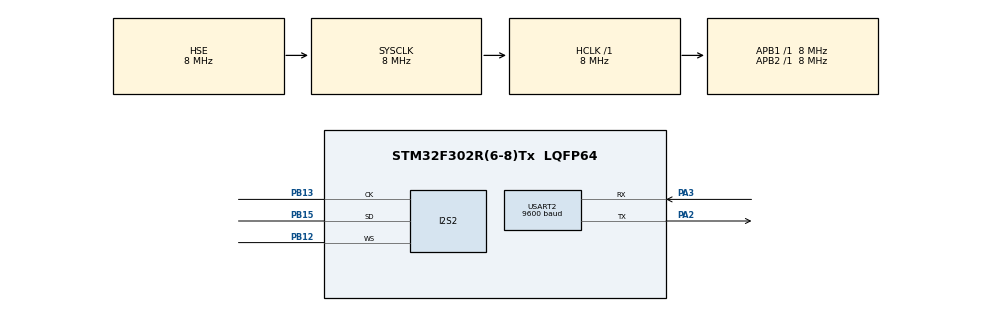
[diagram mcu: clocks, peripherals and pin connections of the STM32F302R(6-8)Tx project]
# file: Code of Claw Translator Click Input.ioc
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Dma.Request0=SPI2_RX
Dma.SPI2_RX.0.Direction=DMA_PERIPH_TO_MEMORY
Dma.SPI2_RX.0.Instance=DMA1_Channel4
Dma.SPI2_RX.0.MemDataAlignment=DMA_MDATAALIGN_HALFWORD
Dma.SPI2_RX.0.MemInc=DMA_MINC_ENABLE
Dma.SPI2_RX.0.Mode=DMA_CIRCULAR
Dma.SPI2_RX.0.PeriphDataAlignment=DMA_PDATAALIGN_HALFWORD
Dma.SPI2_RX.0.PeriphInc=DMA_PINC_DISABLE
Dma.SPI2_RX.0.Priority=DMA_PRIORITY_LOW
I2S2.AudioFreq=I2S_AUDIOFREQ_32K
I2S2.DataFormat=I2S_DATAFORMAT_16B_EXTENDED
I2S2.ErrorAudioFreq=-2.34 %
I2S2.FullDuplexMode=I2S_FULLDUPLEXMODE_DISABLE
I2S2.Instance=SPI$Index
I2S2.Mode=I2S_MODE_MASTER_RX
I2S2.RealAudioFreq=31.25 KHz
I2S2.VirtualMode=I2S_MODE_MASTER
Mcu.Family=STM32F3
Mcu.Name=STM32F302R(6-8)Tx
Mcu.Package=LQFP64
NVIC.DMA1_Channel4_IRQn=true\:0\:0\:false\:false\:true\:false\:true\:true
NVIC.PriorityGroup=NVIC_PRIORITYGROUP_4
PA13.Mode=Serial_Wire
PA13.Signal=SYS_JTMS-SWDIO
PA14.Mode=Serial_Wire
PA14.Signal=SYS_JTCK-SWCLK
PA2.Mode=Asynchronous
PA2.Signal=USART2_TX
PA3.Mode=Asynchronous
PA3.Signal=USART2_RX
PB12.Mode=Half_Duplex_Master
PB12.Signal=I2S2_WS
PB13.Mode=Half_Duplex_Master
PB13.Signal=I2S2_CK
PB15.Mode=Half_Duplex_Master
PB15.Signal=I2S2_SD
PF0-OSC_IN.Mode=HSE-External-Oscillator
PF0-OSC_IN.Signal=RCC_OSC_IN
PF1-OSC_OUT.Mode=HSE-External-Oscillator
PF1-OSC_OUT.Signal=RCC_OSC_OUT
ProjectManager.HeapSize=0x200
ProjectManager.StackSize=0x400
ProjectManager.TargetToolchain=STM32CubeIDE
RCC.AHBFreq_Value=8000000
RCC.APB1Freq_Value=8000000
RCC.APB1TimFreq_Value=8000000
RCC.APB2Freq_Value=8000000
RCC.APB2TimFreq_Value=8000000
RCC.CortexFreq_Value=8000000
RCC.HCLKFreq_Value=8000000
RCC.HSE_VALUE=8000000
RCC.HSI_VALUE=8000000
RCC.LSE_VALUE=32768
RCC.PLLMUL=RCC_PLL_MUL8
RCC.PLLSourceVirtual=RCC_PLLSOURCE_HSE
RCC.SYSCLKFreq_VALUE=8000000
RCC.SYSCLKSourceVirtual=RCC_SYSCLKSOURCE_HSE
RCC.USBFreq_Value=64000000
USART2.BaudRate=9600
USART2.VirtualMode-Asynchronous=VM_ASYNC
board=custom

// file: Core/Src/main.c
/* USER CODE BEGIN Header */
/**
  ******************************************************************************
  * @file           : main.c
  * @brief          : Main program body
  ******************************************************************************
  * @attention
  *
  * Copyright (c) 2026 STMicroelectronics.
  * All rights reserved.
  *
  * This software is licensed under terms that can be found in the LICENSE file
  * in the root directory of this software component.
  * If no LICENSE file comes with this software, it is provided AS-IS.
  *
  ******************************************************************************
  */
/* USER CODE END Header */
#include "main.h"

/* USER CODE BEGIN Includes */
#include "arm_math.h"
#include "stdio.h"
#include "stdlib.h"
/* USER CODE END Includes */

/* USER CODE BEGIN PD */
//#define BUFFER_SIZE 256
//#define INT16_TO_FLOAT 	1.0f / 32768.0f
//#define INT32_TO_FLOAT 	1.0f / 2147483648.0f

//#define FFT_LENGTH	1024
//#define SAMPLE_RATE	31250.0f
#define FFT_LENGTH 		256
#define SAMPLING_RATE	16000.0
/* USER CODE END PD */

I2S_HandleTypeDef hi2s2;
DMA_HandleTypeDef hdma_spi2_rx;

UART_HandleTypeDef huart2;

/* USER CODE BEGIN PV */
//int16_t audio_data[BUFFER_SIZE];
//volatile int16_t sample_i2s;
//volatile int16_t* in_buf_ptr;
//
//uint8_t data_ready_flag;

arm_rfft_fast_instance_f32 fft_inst;
float32_t frequency = 500.0;

char msg[50];

float32_t input_fft[FFT_LENGTH];
float32_t output_fft[FFT_LENGTH];
float32_t output_fft_mag[FFT_LENGTH / 2];

//float peak_val = 0.0f;
//float peak_Hz = 0;
/* USER CODE END PV */

void SystemClock_Config(void);
static void MX_GPIO_Init(void);
static void MX_DMA_Init(void);
static void MX_I2S2_Init(void);
static void MX_USART2_UART_Init(void);

/* USER CODE BEGIN 0 */
//void HAL_I2S_RxHalfCpltCallback (I2S_HandleTypeDef* hi2s) {
//	in_buf_ptr = &(audio_data[0]);
//	data_ready_flag = 1;
//}

//void HAL_I2S_RxCpltCallback (I2S_HandleTypeDef* hi2s) {
////	in_buf_ptr = &(audio_data[BUFFER_SIZE / 2]);
//	in_buf_ptr = &(audio_data[0]);
////	sample_i2s = audio_data[0];
//	data_ready_flag = 1;
//}
//
//void Process_Data () {
//	static float left_in, right_in;
//	static int16_t fft_idx = 0;
//
//	for (uint16_t n = 0; n < BUFFER_SIZE; n += 2) {
//		left_in = (float) (in_buf_ptr[n] < 0 ? in_buf_ptr[n] + 1900 : in_buf_ptr[n] - 1900);
////		left_in = INT16_TO_FLOAT * ((float) (in_buf_ptr[n] < 0 ? in_buf_ptr[n] + 1900 : in_buf_ptr[n] - 1900));
//		right_in = INT16_TO_FLOAT * ((float) in_buf_ptr[n + 1]);
//
//		fft_buff_in[fft_idx] = left_in;
//		fft_idx++;
//
//		if (fft_idx == FFT_BUFFER_SIZE) {
//			arm_rfft_fast_f32 (&fft_handler, fft_buff_in, fft_buff_out, 1);
//			fft_flag = 1;
//			fft_idx = 0;
//		}
//	}
//
//	data_ready_flag = 0;
//}
/* USER CODE END 0 */

int main(void)
{

  /* USER CODE BEGIN 1 */
	arm_rfft_fast_init_f32 (&fft_inst, FFT_LENGTH);
  /* USER CODE END 1 */

  /* MCU Configuration--------------------------------------------------------*/

  /* Reset of all peripherals, Initializes the Flash interface and the Systick. */
  HAL_Init();

  /* Configure the system clock */
  SystemClock_Config();

  /* Initialize all configured peripherals */
  MX_GPIO_Init();
  MX_DMA_Init();
  MX_I2S2_Init();
  MX_USART2_UART_Init();
  /* USER CODE BEGIN 2 */
//  HAL_I2S_Receive_DMA (&hi2s2, (uint16_t *) audio_data, BUFFER_SIZE);
  HAL_Delay (100);
    for (int i = 0; i < FFT_LENGTH; i++)
  	  input_fft[i] = arm_sin_f32 (2.0 * PI * frequency * (float32_t) i / SAMPLING_RATE);

    arm_rfft_fast_f32 (&fft_inst, input_fft, output_fft, 0);
    arm_cmplx_mag_f32 (output_fft, output_fft_mag, FFT_LENGTH / 2);

    for (int i = 0; i < FFT_LENGTH / 2; i++) {
  	  sprintf (msg, "frequency %f: %f\r\n", ((float32_t)(i * SAMPLING_RATE) / FFT_LENGTH), output_fft_mag[i]);
  	  HAL_UART_Transmit (&huart2, (uint8_t *) msg, 50, 100);
    }
  /* USER CODE END 2 */

  /* Infinite loop */
  /* USER CODE BEGIN WHILE */

  while (1)
  {
//	  if (data_ready_flag) {
//		  Process_Data ();
//	  }
//
//	  if (fft_flag) {
//		  peak_val = 0.0f;
//		  peak_Hz = 0;
//
//		  uint16_t freq_idx = 0;
//		  for (uint16_t idx = 0; idx < FFT_BUFFER_SIZE; idx += 2) {
//			  float cur_val = sqrtf ((fft_buff_out[idx] * fft_buff_out[idx]) + (fft_buff_out[idx + 1] * fft_buff_out[idx + 1]));
//			  if (cur_val > peak_val) {
//				  peak_Hz = ((float) (freq_idx * SAMPLE_RATE_HZ) / ((float) FFT_BUFFER_SIZE));
//				  peak_val = cur_val;
//			  }
//		  }
//
//		  freq_idx++;
//	  }
    /* USER CODE END WHILE */

  }
}

void SystemClock_Config(void)
{
  RCC_OscInitTypeDef RCC_OscInitStruct = {0};
  RCC_ClkInitTypeDef RCC_ClkInitStruct = {0};

  /** Initializes the RCC Oscillators according to the specified parameters
  * in the RCC_OscInitTypeDef structure.
  */
  RCC_OscInitStruct.OscillatorType = RCC_OSCILLATORTYPE_HSE;
  RCC_OscInitStruct.HSEState = RCC_HSE_ON;
  RCC_OscInitStruct.HSIState = RCC_HSI_ON;
  RCC_OscInitStruct.PLL.PLLState = RCC_PLL_NONE;
  if (HAL_RCC_OscConfig(&RCC_OscInitStruct) != HAL_OK)
  {
    Error_Handler();
  }

  /** Initializes the CPU, AHB and APB buses clocks
  */
  RCC_ClkInitStruct.ClockType = RCC_CLOCKTYPE_HCLK|RCC_CLOCKTYPE_SYSCLK
                              |RCC_CLOCKTYPE_PCLK1|RCC_CLOCKTYPE_PCLK2;
  RCC_ClkInitStruct.SYSCLKSource = RCC_SYSCLKSOURCE_HSE;
  RCC_ClkInitStruct.AHBCLKDivider = RCC_SYSCLK_DIV1;
  RCC_ClkInitStruct.APB1CLKDivider = RCC_HCLK_DIV1;
  RCC_ClkInitStruct.APB2CLKDivider = RCC_HCLK_DIV1;

  if (HAL_RCC_ClockConfig(&RCC_ClkInitStruct, FLASH_LATENCY_0) != HAL_OK)
  {
    Error_Handler();
  }
}

static void MX_I2S2_Init(void)
{

  hi2s2.Instance = SPI2;
  hi2s2.Init.Mode = I2S_MODE_MASTER_RX;
  hi2s2.Init.Standard = I2S_STANDARD_PHILIPS;
  hi2s2.Init.DataFormat = I2S_DATAFORMAT_16B_EXTENDED;
  hi2s2.Init.MCLKOutput = I2S_MCLKOUTPUT_DISABLE;
  hi2s2.Init.AudioFreq = I2S_AUDIOFREQ_32K;
  hi2s2.Init.CPOL = I2S_CPOL_LOW;
  hi2s2.Init.ClockSource = I2S_CLOCK_SYSCLK;
  hi2s2.Init.FullDuplexMode = I2S_FULLDUPLEXMODE_DISABLE;
  if (HAL_I2S_Init(&hi2s2) != HAL_OK)
  {
    Error_Handler();
  }

}

static void MX_USART2_UART_Init(void)
{

  huart2.Instance = USART2;
  huart2.Init.BaudRate = 9600;
  huart2.Init.WordLength = UART_WORDLENGTH_8B;
  huart2.Init.StopBits = UART_STOPBITS_1;
  huart2.Init.Parity = UART_PARITY_NONE;
  huart2.Init.Mode = UART_MODE_TX_RX;
  huart2.Init.HwFlowCtl = UART_HWCONTROL_NONE;
  huart2.Init.OverSampling = UART_OVERSAMPLING_16;
  huart2.Init.OneBitSampling = UART_ONE_BIT_SAMPLE_DISABLE;
  huart2.AdvancedInit.AdvFeatureInit = UART_ADVFEATURE_NO_INIT;
  if (HAL_UART_Init(&huart2) != HAL_OK)
  {
    Error_Handler();
  }

}

static void MX_DMA_Init(void)
{

  /* DMA controller clock enable */
  __HAL_RCC_DMA1_CLK_ENABLE();

  /* DMA interrupt init */
  /* DMA1_Channel4_IRQn interrupt configuration */
  HAL_NVIC_SetPriority(DMA1_Channel4_IRQn, 0, 0);
  HAL_NVIC_EnableIRQ(DMA1_Channel4_IRQn);

}

static void MX_GPIO_Init(void)
{

  /* GPIO Ports Clock Enable */
  __HAL_RCC_GPIOF_CLK_ENABLE();
  __HAL_RCC_GPIOA_CLK_ENABLE();
  __HAL_RCC_GPIOB_CLK_ENABLE();

}

void Error_Handler(void)
{
  __disable_irq();
  while (1)
  {
  }
}
